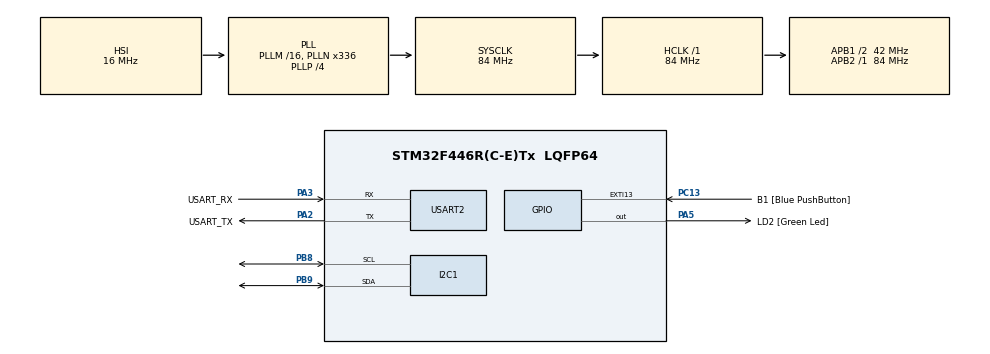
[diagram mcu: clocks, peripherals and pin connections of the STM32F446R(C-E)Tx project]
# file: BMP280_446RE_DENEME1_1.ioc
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Mcu.Family=STM32F4
Mcu.Name=STM32F446R(C-E)Tx
Mcu.Package=LQFP64
NVIC.PriorityGroup=NVIC_PRIORITYGROUP_0
PA13.GPIO_Label=TMS
PA13.Mode=Serial_Wire
PA13.Signal=SYS_JTMS-SWDIO
PA14.GPIO_Label=TCK
PA14.Mode=Serial_Wire
PA14.Signal=SYS_JTCK-SWCLK
PA2.GPIO_Label=USART_TX
PA2.Mode=Asynchronous
PA2.Signal=USART2_TX
PA3.GPIO_Label=USART_RX
PA3.Mode=Asynchronous
PA3.Signal=USART2_RX
PA5.GPIO_Label=LD2 [Green Led]
PA5.Signal=GPIO_Output
PB3.GPIO_Label=SWO
PB3.Signal=SYS_JTDO-SWO
PB8.Mode=I2C
PB8.Signal=I2C1_SCL
PB9.Mode=I2C
PB9.Signal=I2C1_SDA
PC13.GPIO_Label=B1 [Blue PushButton]
PC13.GPIO_ModeDefaultEXTI=GPIO_MODE_IT_FALLING
PC13.Signal=GPXTI13
PC14-OSC32_IN.Mode=LSE-External-Oscillator
PC14-OSC32_IN.Signal=RCC_OSC32_IN
PC15-OSC32_OUT.Mode=LSE-External-Oscillator
PC15-OSC32_OUT.Signal=RCC_OSC32_OUT
PH0-OSC_IN.Mode=HSE-External-Oscillator
PH0-OSC_IN.Signal=RCC_OSC_IN
PH1-OSC_OUT.Mode=HSE-External-Oscillator
PH1-OSC_OUT.Signal=RCC_OSC_OUT
ProjectManager.HeapSize=0x200
ProjectManager.StackSize=0x400
ProjectManager.TargetToolchain=STM32CubeIDE
RCC.48MHZClocksFreq_Value=84000000
RCC.AHBFreq_Value=84000000
RCC.APB1CLKDivider=RCC_HCLK_DIV2
RCC.APB1Freq_Value=42000000
RCC.APB1TimFreq_Value=84000000
RCC.APB2Freq_Value=84000000
RCC.APB2TimFreq_Value=84000000
RCC.CortexFreq_Value=84000000
RCC.FLatency-AdvancedSettings=FLASH_LATENCY_2
RCC.HCLKFreq_Value=84000000
RCC.HSE_VALUE=8000000
RCC.HSI_VALUE=16000000
RCC.PLLN=336
RCC.PLLP=RCC_PLLP_DIV4
RCC.SYSCLKFreq_VALUE=84000000
RCC.SYSCLKSource=RCC_SYSCLKSOURCE_PLLCLK
RCC.USBFreq_Value=168000000
RCC.VCOOutputFreq_Value=336000000
USART2.VirtualMode=VM_ASYNC
board=NUCLEO-F446RE

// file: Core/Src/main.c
/* USER CODE BEGIN Header */
/**
  ******************************************************************************
  * @file           : main.c
  * @brief          : Main program body
  ******************************************************************************
  * @attention
  *
  * Copyright (c) 2022 STMicroelectronics.
  * All rights reserved.
  *
  * This software is licensed under terms that can be found in the LICENSE file
  * in the root directory of this software component.
  * If no LICENSE file comes with this software, it is provided AS-IS.
  *
  ******************************************************************************
  */
/* USER CODE END Header */
#include "main.h"
#include "i2c.h"
#include "usart.h"
#include "gpio.h"

/* USER CODE BEGIN Includes */
#include "bmp280.h"
#include "stdbool.h"
#include "fonksiyonlar_yrt.h"
/* USER CODE END Includes */

/* USER CODE BEGIN PV */
uint16_t size;
uint8_t Data[256];
int32_t BaseInfo[2] = { -1, -1 }, bmp_data[2] = { -1, -1 };
float altitude ,pressure, p, temperature, humidity;
/* USER CODE END PV */

void SystemClock_Config(void);
/* USER CODE BEGIN PFP */
bool bmp_detection = false;
/* USER CODE END PFP */

/* USER CODE BEGIN 0 */

BMP280_HandleTypedef bmp280;

/* USER CODE END 0 */

int main(void)
{
  /* USER CODE BEGIN 1 */
	float BaseInfo[2] = { -1, -1 };
  /* USER CODE END 1 */

  /* MCU Configuration--------------------------------------------------------*/

  /* Reset of all peripherals, Initializes the Flash interface and the Systick. */
  HAL_Init();

  /* Configure the system clock */
  SystemClock_Config();

  /* Initialize all configured peripherals */
  MX_GPIO_Init();
  MX_USART2_UART_Init();
  MX_I2C1_Init();
  /* USER CODE BEGIN 2 */

  	startBmp(&hi2c1);
	HAL_Delay(25);
	readBmp(BaseInfo);

  /* USER CODE END 2 */

  /* Infinite loop */
  /* USER CODE BEGIN WHILE */
  while (1)
  {
		float bmp_data[2] = { -1, -1 };
		float Altitude = -1;

    /* USER CODE END WHILE */

    /* USER CODE BEGIN 3 */

		readBmp(bmp_data);
		Altitude = calculateAltitude(bmp_data[1], BaseInfo[1]);
	  	  HAL_Delay(150);

			size_print = sprintf((char *) Data_print,
					" Temperature: %.2f, Altitude: %.1f \n",
					bmp_data[0], Altitude
					);
			printA(Data_print, size_print);

  }
  /* USER CODE END 3 */
}

void SystemClock_Config(void)
{
  RCC_OscInitTypeDef RCC_OscInitStruct = {0};
  RCC_ClkInitTypeDef RCC_ClkInitStruct = {0};

  /** Configure the main internal regulator output voltage
  */
  __HAL_RCC_PWR_CLK_ENABLE();
  __HAL_PWR_VOLTAGESCALING_CONFIG(PWR_REGULATOR_VOLTAGE_SCALE3);
  /** Initializes the RCC Oscillators according to the specified parameters
  * in the RCC_OscInitTypeDef structure.
  */
  RCC_OscInitStruct.OscillatorType = RCC_OSCILLATORTYPE_HSI;
  RCC_OscInitStruct.HSIState = RCC_HSI_ON;
  RCC_OscInitStruct.HSICalibrationValue = RCC_HSICALIBRATION_DEFAULT;
  RCC_OscInitStruct.PLL.PLLState = RCC_PLL_ON;
  RCC_OscInitStruct.PLL.PLLSource = RCC_PLLSOURCE_HSI;
  RCC_OscInitStruct.PLL.PLLM = 16;
  RCC_OscInitStruct.PLL.PLLN = 336;
  RCC_OscInitStruct.PLL.PLLP = RCC_PLLP_DIV4;
  RCC_OscInitStruct.PLL.PLLQ = 2;
  RCC_OscInitStruct.PLL.PLLR = 2;
  if (HAL_RCC_OscConfig(&RCC_OscInitStruct) != HAL_OK)
  {
    Error_Handler();
  }
  /** Initializes the CPU, AHB and APB buses clocks
  */
  RCC_ClkInitStruct.ClockType = RCC_CLOCKTYPE_HCLK|RCC_CLOCKTYPE_SYSCLK
                              |RCC_CLOCKTYPE_PCLK1|RCC_CLOCKTYPE_PCLK2;
  RCC_ClkInitStruct.SYSCLKSource = RCC_SYSCLKSOURCE_PLLCLK;
  RCC_ClkInitStruct.AHBCLKDivider = RCC_SYSCLK_DIV1;
  RCC_ClkInitStruct.APB1CLKDivider = RCC_HCLK_DIV2;
  RCC_ClkInitStruct.APB2CLKDivider = RCC_HCLK_DIV1;

  if (HAL_RCC_ClockConfig(&RCC_ClkInitStruct, FLASH_LATENCY_2) != HAL_OK)
  {
    Error_Handler();
  }
}

void Error_Handler(void)
{
  __disable_irq();
  while (1)
  {
  }
}
